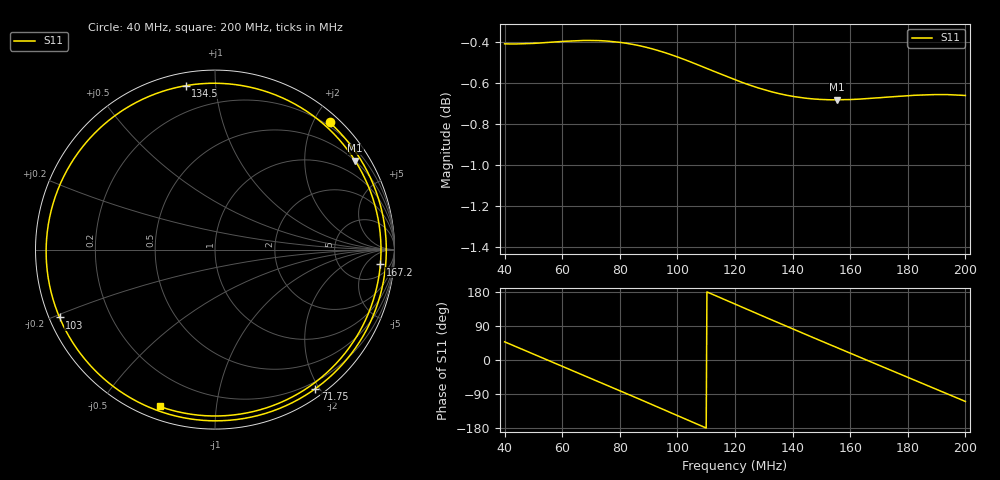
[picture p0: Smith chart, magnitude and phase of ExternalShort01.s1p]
# Hz S RI R 50
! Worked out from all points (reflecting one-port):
!   641 points, 40 MHz to 200 MHz, reference 50 ohm
!   lowest |S11| = -0.7 dB at 155.5 MHz (marker M1), VSWR 25.45, Z = 24.9 + j169 ohm
!   phase of S11 starts at 48 deg and turns -517 deg over the sweep
!   S11 on the Smith chart (normalised r, x): 40 MHz: 0.14, +2.24; 71.75 MHz: 0.11, -1.95; 103 MHz: 0.03, -0.21; 134.5 MHz: 0.06, +0.84; 167.2 MHz: 11, -13; 200 MHz: 0.06, -0.71
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4e7  0.6386 0.7085
4.575e7  0.8304 0.4692
5.05e7  0.9249 0.2341
5.525e7  0.9544 -0.0176
6e7  0.9165 -0.2686
6.575e7  0.7841 -0.546
7.175e7  0.5584 -0.7754
8e7  0.149 -0.9429
8.475e7  -0.108 -0.9473
8.95e7  -0.3573 -0.8822
9.45e7  -0.5907 -0.7436
1e8  -0.7901 -0.5218
1.03e8  -0.8663 -0.3778
1.115e8  -0.9371 0.0732
1.2e8  -0.7888 0.5017
1.275e8  -0.5061 0.7812
1.345e8  -0.1626 0.9135
1.4e8  0.1251 0.9177
1.4725e8  0.4787 0.7913
1.555e8  0.7809 0.4946
1.6e8  0.8794 0.2853
1.6725e8  0.9214 -0.0826
1.735e8  0.8392 -0.3912
1.8e8  0.6477 -0.6625
1.8525e8  0.4303 -0.821
1.9025e8  0.1886 -0.9077
1.95e8  -0.0553 -0.9253
2e8  -0.308 -0.8739
